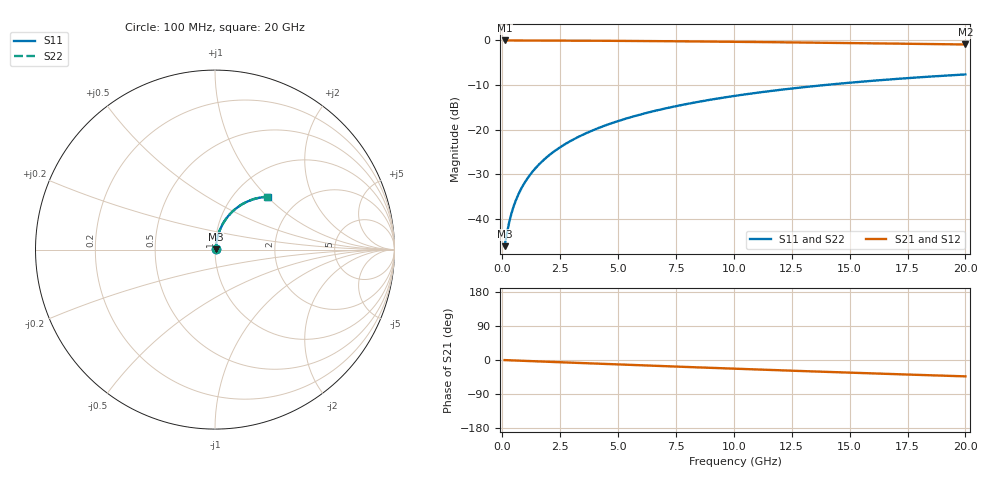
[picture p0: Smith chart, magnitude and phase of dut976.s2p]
! Touchstone file exported from HFSS 2026.1.0
!  File:  C:/ffzhzh/LocalFiles/Ansys_Project_Files/temp_train_BSMRDL_976_1783172682_55132.aedt
!  Generated:  09:45:55 PM Jul  4, 2026
!  Design:  BSMRDL
!  Project:  temp_train_BSMRDL_976_1783172682_55132
! Variables:
!  h_bsmrdl = 2.95um
!  h_ox = 20um
!  h_rdl = 5um
!  h_sub = 80um
!  h_tmrdl = 5um
!  h_tsv = 80um
!  h_via = 3um
!  l_bsmrdl = 617.39um
!  l_sub = 1017.39um
!  l_tmrdl = 200um
!  m_sub = 200um
!  pitch = 45.54um
!  r_tsv = 6um
!  s_tmrdl = 10um
!  w_bsmrdl = 18.81um
!  w_sub = 500um
!  w_tmrdl = 12um
!  x_tsv_center1 = 206um
!  x_tsv_center2 = 842.2um
!  x_tsv_center3 = 1054.2um
!  x_tsv_center4 = 1690.4um
!  x_tsv_center5 = 1902.4um
!  x_tsv_center6 = 2538.6um
# GHz S MA R 50.000000
! Terminal data exported
! Port[1] = BSM_RDL1_1_T1
! Port[2] = BSM_RDL1_1_T2
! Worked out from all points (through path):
!   200 points, 100 MHz to 20 GHz, reference 50 ohm
!   highest |S21| = -0.04 dB at 100 MHz (marker M1); lowest = -0.9 dB at 20 GHz (marker M2)
!   group delay of S21, straight-line fit = 6.01 ps
!   lowest |S11| = -46.1 dB at 100 MHz (marker M3), VSWR 1.01, Z = 50.4 + j0.276 ohm
!   |S11| at or under -10 dB: start of sweep to 13.96 GHz
!   |S22| runs from -46.1 to -7.6 dB; largest |S21 - S12| = 4.2e-15
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0.1  0.004953 33.6  0.9959 -0.2  0.9959 -0.2  0.004953 33.6
! Gamma 0 0 0 0
! Port Impedance 50 0 50 0
0.2  0.006917 51.8  0.9958 -0.5  0.9958 -0.5  0.006917 51.8
0.3  0.009229 60.9  0.9956 -0.7  0.9956 -0.7  0.009229 60.9
0.4  0.01163 66.1  0.9954 -1.0  0.9954 -1.0  0.01163 66.1
0.5  0.01406 69.4  0.9952 -1.2  0.9952 -1.2  0.01406 69.4
0.6  0.0165 71.7  0.9951 -1.4  0.9951 -1.4  0.0165 71.7
0.8  0.02138 74.7  0.9948 -1.9  0.9948 -1.9  0.02138 74.7
1.1  0.02875 77.1  0.9945 -2.6  0.9945 -2.6  0.02875 77.1
1.3  0.03369 78.0  0.9942 -3.1  0.9942 -3.1  0.03368 78.0
1.6  0.04112 78.8  0.9939 -3.8  0.9939 -3.8  0.04112 78.8
2.1  0.05354 79.2  0.9931 -5.0  0.9931 -5.0  0.05354 79.2
2.7  0.06843 78.9  0.992 -6.4  0.992 -6.4  0.06843 78.9
3.5  0.08817 77.9  0.9902 -8.2  0.9902 -8.2  0.08817 77.9
4.2  0.1053 76.7  0.9882 -9.8  0.9882 -9.8  0.1053 76.8
5  0.1246 75.3  0.9856 -11.7  0.9856 -11.7  0.1246 75.3
5.9  0.146 73.5  0.9823 -13.8  0.9823 -13.8  0.146 73.5
6.8  0.167 71.6  0.9785 -15.8  0.9785 -15.8  0.167 71.7
8.3  0.201 68.5  0.9713 -19.2  0.9713 -19.2  0.201 68.5
10.1  0.2399 64.7  0.9617 -23.1  0.9617 -23.1  0.2399 64.7
13.4  0.3057 57.9  0.9416 -30.1  0.9416 -30.1  0.3057 58.0
16.7  0.3641 51.4  0.9199 -36.8  0.9199 -36.8  0.364 51.5
20  0.4148 45.1  0.8979 -43.2  0.8979 -43.2  0.4148 45.2
